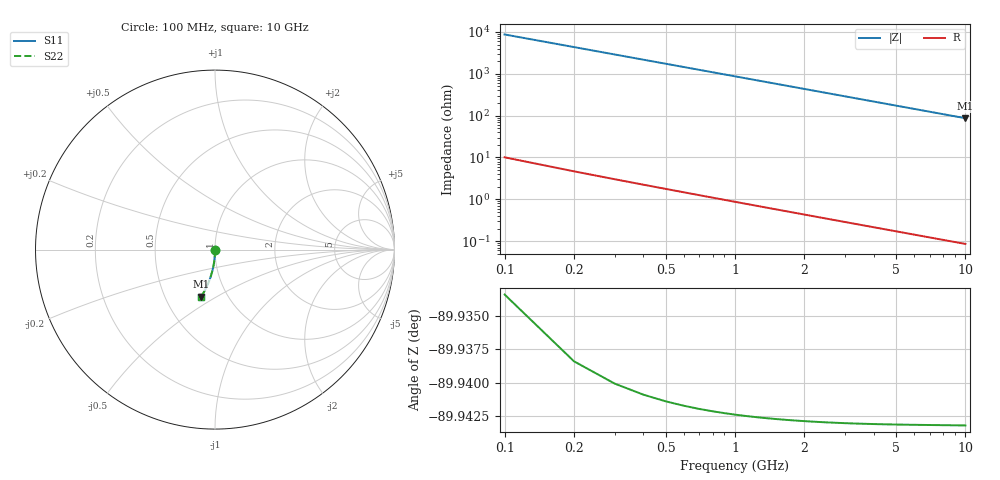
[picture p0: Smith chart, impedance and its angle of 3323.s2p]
# Hz S RI R 50.00
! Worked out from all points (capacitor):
!   100 points, 100 MHz to 10 GHz, reference 50 ohm
!   read as one part in shunt: C = 183 fF near 100 MHz
!   lowest |Z| = 86.8 ohm at 10 GHz (marker M1)
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1e8  -3.32e-06 -0.00283  1 -0.00292  1 -0.00292  -3.32e-06 -0.00283
2e8  -3.09e-05 -0.00567  1 -0.00584  1 -0.00584  -3.09e-05 -0.00567
3e8  -7.51e-05 -0.0085  0.9999 -0.00876  0.9999 -0.00876  -7.51e-05 -0.0085
4e8  -0.000136 -0.0113  0.9998 -0.0117  0.9998 -0.0117  -0.000136 -0.0113
5e8  -0.000213 -0.0142  0.9998 -0.0146  0.9998 -0.0146  -0.000213 -0.0142
6e8  -0.000307 -0.017  0.9997 -0.0175  0.9997 -0.0175  -0.000307 -0.017
7e8  -0.000418 -0.0198  0.9996 -0.0204  0.9996 -0.0204  -0.000418 -0.0198
8e8  -0.000545 -0.0227  0.9994 -0.0234  0.9994 -0.0234  -0.000545 -0.0227
9e8  -0.000688 -0.0255  0.9993 -0.0263  0.9993 -0.0263  -0.000688 -0.0255
1.1e9  -0.00102 -0.0311  0.999 -0.0321  0.999 -0.0321  -0.00102 -0.0311
1.4e9  -0.00165 -0.0396  0.9983 -0.0409  0.9983 -0.0409  -0.00165 -0.0396
1.8e9  -0.00272 -0.0509  0.9973 -0.0525  0.9973 -0.0525  -0.00272 -0.0509
2.1e9  -0.00369 -0.0593  0.9963 -0.0612  0.9963 -0.0612  -0.00369 -0.0593
2.5e9  -0.00522 -0.0705  0.9948 -0.0727  0.9948 -0.0727  -0.00522 -0.0705
2.9e9  -0.007 -0.0817  0.993 -0.0842  0.993 -0.0842  -0.007 -0.0817
3.4e9  -0.00959 -0.0955  0.9904 -0.0985  0.9904 -0.0985  -0.00959 -0.0955
4.2e9  -0.0145 -0.1174  0.9854 -0.1212  0.9854 -0.1212  -0.0145 -0.1174
5.1e9  -0.0213 -0.1416  0.9787 -0.1462  0.9787 -0.1462  -0.0213 -0.1416
5.9e9  -0.0283 -0.1627  0.9717 -0.168  0.9717 -0.168  -0.0283 -0.1627
6.7e9  -0.0362 -0.1832  0.9638 -0.1893  0.9638 -0.1893  -0.0362 -0.1832
8.4e9  -0.0556 -0.225  0.9443 -0.2326  0.9443 -0.2326  -0.0556 -0.225
1e10  -0.077 -0.2616  0.9229 -0.2707  0.9229 -0.2707  -0.077 -0.2616
